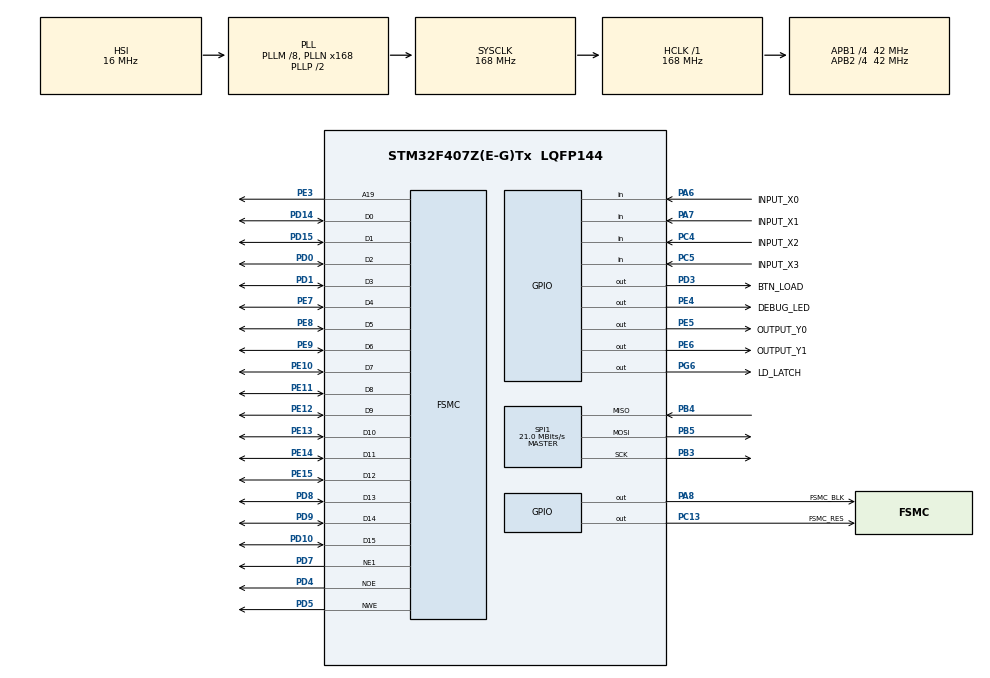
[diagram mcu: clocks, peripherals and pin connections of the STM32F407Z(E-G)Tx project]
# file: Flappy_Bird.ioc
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FSMC.AddressSetupTime1=0xf
FSMC.BusTurnAroundDuration1=0
FSMC.DataSetupTime1=60
FSMC.ExtendedAddressSetupTime1=8
FSMC.ExtendedBusTurnAroundDuration1=0
FSMC.ExtendedDataSetupTime1=9
FSMC.ExtendedMode1=FSMC_EXTENDED_MODE_ENABLE
Mcu.Family=STM32F4
Mcu.Name=STM32F407Z(E-G)Tx
Mcu.Package=LQFP144
NVIC.PriorityGroup=NVIC_PRIORITYGROUP_4
NVIC.TIM2_IRQn=true\:0\:0\:false\:false\:true\:true\:true
NVIC.TIM4_IRQn=true\:0\:0\:false\:false\:true\:true\:true
PA13.Mode=Serial_Wire
PA13.Signal=SYS_JTMS-SWDIO
PA14.Mode=Serial_Wire
PA14.Signal=SYS_JTCK-SWCLK
PA6.GPIO_Label=INPUT_X0
PA6.Signal=GPIO_Input
PA7.GPIO_Label=INPUT_X1
PA7.Signal=GPIO_Input
PA8.GPIO_Label=FSMC_BLK
PA8.Signal=GPIO_Output
PB3.Mode=Full_Duplex_Master
PB3.Signal=SPI1_SCK
PB4.Mode=Full_Duplex_Master
PB4.Signal=SPI1_MISO
PB5.Mode=Full_Duplex_Master
PB5.Signal=SPI1_MOSI
PC13-ANTI_TAMP.GPIO_Label=FSMC_RES
PC13-ANTI_TAMP.Signal=GPIO_Output
PC4.GPIO_Label=INPUT_X2
PC4.Signal=GPIO_Input
PC5.GPIO_Label=INPUT_X3
PC5.Signal=GPIO_Input
PD0.Signal=FSMC_D2_DA2
PD1.Signal=FSMC_D3_DA3
PD10.Signal=FSMC_D15_DA15
PD14.Signal=FSMC_D0_DA0
PD15.Signal=FSMC_D1_DA1
PD3.GPIO_Label=BTN_LOAD
PD3.Signal=GPIO_Output
PD4.Signal=FSMC_NOE
PD5.Signal=FSMC_NWE
PD7.Mode=NorPsramChipSelect1_1
PD7.Signal=FSMC_NE1
PD8.Signal=FSMC_D13_DA13
PD9.Signal=FSMC_D14_DA14
PE10.Signal=FSMC_D7_DA7
PE11.Signal=FSMC_D8_DA8
PE12.Signal=FSMC_D9_DA9
PE13.Signal=FSMC_D10_DA10
PE14.Signal=FSMC_D11_DA11
PE15.Signal=FSMC_D12_DA12
PE3.Signal=FSMC_A19
PE4.GPIO_Label=DEBUG_LED
PE4.Signal=GPIO_Output
PE5.GPIO_Label=OUTPUT_Y0
PE5.Signal=GPIO_Output
PE6.GPIO_Label=OUTPUT_Y1
PE6.Signal=GPIO_Output
PE7.Signal=FSMC_D4_DA4
PE8.Signal=FSMC_D5_DA5
PE9.Signal=FSMC_D6_DA6
PG6.GPIO_Label=LD_LATCH
PG6.Signal=GPIO_Output
PH0-OSC_IN.Mode=HSE-External-Oscillator
PH0-OSC_IN.Signal=RCC_OSC_IN
PH1-OSC_OUT.Mode=HSE-External-Oscillator
PH1-OSC_OUT.Signal=RCC_OSC_OUT
ProjectManager.HeapSize=0x200
ProjectManager.StackSize=0x400
ProjectManager.TargetToolchain=STM32CubeIDE
RCC.48MHZClocksFreq_Value=84000000
RCC.AHBFreq_Value=168000000
RCC.APB1CLKDivider=RCC_HCLK_DIV4
RCC.APB1Freq_Value=42000000
RCC.APB1TimFreq_Value=84000000
RCC.APB2CLKDivider=RCC_HCLK_DIV4
RCC.APB2Freq_Value=42000000
RCC.APB2TimFreq_Value=84000000
RCC.CortexFreq_Value=168000000
RCC.HCLKFreq_Value=168000000
RCC.HSE_VALUE=8000000
RCC.HSI_VALUE=16000000
RCC.LSE_VALUE=32768
RCC.PLLM=8
RCC.PLLN=168
RCC.SYSCLKFreq_VALUE=168000000
RCC.SYSCLKSource=RCC_SYSCLKSOURCE_PLLCLK
RCC.VCOOutputFreq_Value=336000000
SH.FSMC_A19.0=FSMC_A19,A19_1
SH.FSMC_D0_DA0.0=FSMC_D0,16b-d1
SH.FSMC_D10_DA10.0=FSMC_D10,16b-d1
SH.FSMC_D11_DA11.0=FSMC_D11,16b-d1
SH.FSMC_D12_DA12.0=FSMC_D12,16b-d1
SH.FSMC_D13_DA13.0=FSMC_D13,16b-d1
SH.FSMC_D14_DA14.0=FSMC_D14,16b-d1
SH.FSMC_D15_DA15.0=FSMC_D15,16b-d1
SH.FSMC_D1_DA1.0=FSMC_D1,16b-d1
SH.FSMC_D2_DA2.0=FSMC_D2,16b-d1
SH.FSMC_D3_DA3.0=FSMC_D3,16b-d1
SH.FSMC_D4_DA4.0=FSMC_D4,16b-d1
SH.FSMC_D5_DA5.0=FSMC_D5,16b-d1
SH.FSMC_D6_DA6.0=FSMC_D6,16b-d1
SH.FSMC_D7_DA7.0=FSMC_D7,16b-d1
SH.FSMC_D8_DA8.0=FSMC_D8,16b-d1
SH.FSMC_D9_DA9.0=FSMC_D9,16b-d1
SH.FSMC_NOE.0=FSMC_NOE,Lcd1
SH.FSMC_NWE.0=FSMC_NWE,Lcd1
SPI1.CalculateBaudRate=21.0 MBits/s
SPI1.Direction=SPI_DIRECTION_2LINES
SPI1.Mode=SPI_MODE_MASTER
SPI1.VirtualType=VM_MASTER
TIM2.Period=100-1
TIM2.Prescaler=840-1
TIM4.Period=100-1
TIM4.Prescaler=840-1
VP_TIM2_VS_ClockSourceINT.Mode=Internal
VP_TIM4_VS_ClockSourceINT.Mode=Internal
board=custom

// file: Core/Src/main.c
/* USER CODE BEGIN Header */
/**
  ******************************************************************************
  * @file           : main.c
  * @brief          : Main program body
  ******************************************************************************
  * @attention
  *
  * <h2><center>&copy; Copyright (c) 2025 STMicroelectronics.
  * All rights reserved.</center></h2>
  *
  * This software component is licensed by ST under BSD 3-Clause license,
  * the "License"; You may not use this file except in compliance with the
  * License. You may obtain a copy of the License at:
  *                        opensource.org/licenses/BSD-3-Clause
  *
  ******************************************************************************
  */
/* USER CODE END Header */
#include "main.h"

/* USER CODE BEGIN Includes */
#include "spi.h"
#include "tim.h"
#include "gpio.h"
#include "fsmc.h"
#include "software_timer.h"
#include "led_7seg.h"
#include "button.h"
#include "lcd.h"
#include "picture.h"
#include "bird.h"
/* USER CODE END Includes */

//SPI_HandleTypeDef hspi1;
//
//TIM_HandleTypeDef htim2;
//TIM_HandleTypeDef htim4;

//SRAM_HandleTypeDef hsram1;

void SystemClock_Config(void);
//static void MX_GPIO_Init(void);
//static void MX_FSMC_Init(void);
//static void MX_SPI1_Init(void);
//static void MX_TIM2_Init(void);
//static void MX_TIM4_Init(void);

/* USER CODE BEGIN 0 */
void init_system();
/* USER CODE END 0 */

int main(void)
{

  /* MCU Configuration--------------------------------------------------------*/

  /* Reset of all peripherals, Initializes the Flash interface and the Systick. */
  HAL_Init();

  /* Configure the system clock */
  SystemClock_Config();

  /* Initialize all configured peripherals */
  MX_GPIO_Init();
  MX_FSMC_Init();
  MX_SPI1_Init();
  MX_TIM2_Init();
  MX_TIM4_Init();
  /* USER CODE BEGIN 2 */
  init_system();
  /* USER CODE END 2 */

  /* Infinite loop */
  while (1)
  {
	  if (timer2_flag) {
		  timer2_flag = 0;
		  button_scan();

		  game_process();
	  }
  }
}

void SystemClock_Config(void)
{
  RCC_OscInitTypeDef RCC_OscInitStruct = {0};
  RCC_ClkInitTypeDef RCC_ClkInitStruct = {0};

  /** Configure the main internal regulator output voltage
  */
  __HAL_RCC_PWR_CLK_ENABLE();
  __HAL_PWR_VOLTAGESCALING_CONFIG(PWR_REGULATOR_VOLTAGE_SCALE1);
  /** Initializes the RCC Oscillators according to the specified parameters
  * in the RCC_OscInitTypeDef structure.
  */
  RCC_OscInitStruct.OscillatorType = RCC_OSCILLATORTYPE_HSI;
  RCC_OscInitStruct.HSIState = RCC_HSI_ON;
  RCC_OscInitStruct.HSICalibrationValue = RCC_HSICALIBRATION_DEFAULT;
  RCC_OscInitStruct.PLL.PLLState = RCC_PLL_ON;
  RCC_OscInitStruct.PLL.PLLSource = RCC_PLLSOURCE_HSI;
  RCC_OscInitStruct.PLL.PLLM = 8;
  RCC_OscInitStruct.PLL.PLLN = 168;
  RCC_OscInitStruct.PLL.PLLP = RCC_PLLP_DIV2;
  RCC_OscInitStruct.PLL.PLLQ = 4;
  if (HAL_RCC_OscConfig(&RCC_OscInitStruct) != HAL_OK)
  {
    Error_Handler();
  }
  /** Initializes the CPU, AHB and APB buses clocks
  */
  RCC_ClkInitStruct.ClockType = RCC_CLOCKTYPE_HCLK|RCC_CLOCKTYPE_SYSCLK
                              |RCC_CLOCKTYPE_PCLK1|RCC_CLOCKTYPE_PCLK2;
  RCC_ClkInitStruct.SYSCLKSource = RCC_SYSCLKSOURCE_PLLCLK;
  RCC_ClkInitStruct.AHBCLKDivider = RCC_SYSCLK_DIV1;
  RCC_ClkInitStruct.APB1CLKDivider = RCC_HCLK_DIV4;
  RCC_ClkInitStruct.APB2CLKDivider = RCC_HCLK_DIV4;

  if (HAL_RCC_ClockConfig(&RCC_ClkInitStruct, FLASH_LATENCY_5) != HAL_OK)
  {
    Error_Handler();
  }
}

//static void MX_SPI1_Init(void)
//{
//
//  /* USER CODE BEGIN SPI1_Init 0 */
////
//  /* USER CODE END SPI1_Init 0 */
//
//  /* USER CODE BEGIN SPI1_Init 1 */
////
//  /* USER CODE END SPI1_Init 1 */
//  /* SPI1 parameter configuration*/
//  hspi1.Instance = SPI1;
//  hspi1.Init.Mode = SPI_MODE_MASTER;
//  hspi1.Init.Direction = SPI_DIRECTION_2LINES;
//  hspi1.Init.DataSize = SPI_DATASIZE_8BIT;
//  hspi1.Init.CLKPolarity = SPI_POLARITY_LOW;
//  hspi1.Init.CLKPhase = SPI_PHASE_1EDGE;
//  hspi1.Init.NSS = SPI_NSS_SOFT;
//  hspi1.Init.BaudRatePrescaler = SPI_BAUDRATEPRESCALER_2;
//  hspi1.Init.FirstBit = SPI_FIRSTBIT_MSB;
//  hspi1.Init.TIMode = SPI_TIMODE_DISABLE;
//  hspi1.Init.CRCCalculation = SPI_CRCCALCULATION_DISABLE;
//  hspi1.Init.CRCPolynomial = 10;
//  if (HAL_SPI_Init(&hspi1) != HAL_OK)
//  {
//    Error_Handler();
//  }
//  /* USER CODE BEGIN SPI1_Init 2 */
////
//  /* USER CODE END SPI1_Init 2 */
//
//}
//
///**
//  * @brief TIM2 Initialization Function
//  * @param None
//  * @retval None
//  */
//static void MX_TIM2_Init(void)
//{
//
//  /* USER CODE BEGIN TIM2_Init 0 */
////
//  /* USER CODE END TIM2_Init 0 */
//
//  TIM_ClockConfigTypeDef sClockSourceConfig = {0};
//  TIM_MasterConfigTypeDef sMasterConfig = {0};
//
//  /* USER CODE BEGIN TIM2_Init 1 */
////
//  /* USER CODE END TIM2_Init 1 */
//  htim2.Instance = TIM2;
//  htim2.Init.Prescaler = 840-1;
//  htim2.Init.CounterMode = TIM_COUNTERMODE_UP;
//  htim2.Init.Period = 100-1;
//  htim2.Init.ClockDivision = TIM_CLOCKDIVISION_DIV1;
//  htim2.Init.AutoReloadPreload = TIM_AUTORELOAD_PRELOAD_DISABLE;
//  if (HAL_TIM_Base_Init(&htim2) != HAL_OK)
//  {
//    Error_Handler();
//  }
//  sClockSourceConfig.ClockSource = TIM_CLOCKSOURCE_INTERNAL;
//  if (HAL_TIM_ConfigClockSource(&htim2, &sClockSourceConfig) != HAL_OK)
//  {
//    Error_Handler();
//  }
//  sMasterConfig.MasterOutputTrigger = TIM_TRGO_RESET;
//  sMasterConfig.MasterSlaveMode = TIM_MASTERSLAVEMODE_DISABLE;
//  if (HAL_TIMEx_MasterConfigSynchronization(&htim2, &sMasterConfig) != HAL_OK)
//  {
//    Error_Handler();
//  }
//  /* USER CODE BEGIN TIM2_Init 2 */
////
//  /* USER CODE END TIM2_Init 2 */
//
//}
//
///**
//  * @brief TIM4 Initialization Function
//  * @param None
//  * @retval None
//  */
//static void MX_TIM4_Init(void)
//{
//
//  /* USER CODE BEGIN TIM4_Init 0 */
////
//  /* USER CODE END TIM4_Init 0 */
//
//  TIM_ClockConfigTypeDef sClockSourceConfig = {0};
//  TIM_MasterConfigTypeDef sMasterConfig = {0};
//
//  /* USER CODE BEGIN TIM4_Init 1 */
////
//  /* USER CODE END TIM4_Init 1 */
//  htim4.Instance = TIM4;
//  htim4.Init.Prescaler = 840-1;
//  htim4.Init.CounterMode = TIM_COUNTERMODE_UP;
//  htim4.Init.Period = 100-1;
//  htim4.Init.ClockDivision = TIM_CLOCKDIVISION_DIV1;
//  htim4.Init.AutoReloadPreload = TIM_AUTORELOAD_PRELOAD_DISABLE;
//  if (HAL_TIM_Base_Init(&htim4) != HAL_OK)
//  {
//    Error_Handler();
//  }
//  sClockSourceConfig.ClockSource = TIM_CLOCKSOURCE_INTERNAL;
//  if (HAL_TIM_ConfigClockSource(&htim4, &sClockSourceConfig) != HAL_OK)
//  {
//    Error_Handler();
//  }
//  sMasterConfig.MasterOutputTrigger = TIM_TRGO_RESET;
//  sMasterConfig.MasterSlaveMode = TIM_MASTERSLAVEMODE_DISABLE;
//  if (HAL_TIMEx_MasterConfigSynchronization(&htim4, &sMasterConfig) != HAL_OK)
//  {
//    Error_Handler();
//  }
//  /* USER CODE BEGIN TIM4_Init 2 */
////
//  /* USER CODE END TIM4_Init 2 */
//
//}
//
///**
//  * @brief GPIO Initialization Function
//  * @param None
//  * @retval None
//  */
//static void MX_GPIO_Init(void)
//{
//  GPIO_InitTypeDef GPIO_InitStruct = {0};
//
//  /* GPIO Ports Clock Enable */
//  __HAL_RCC_GPIOE_CLK_ENABLE();
//  __HAL_RCC_GPIOC_CLK_ENABLE();
//  __HAL_RCC_GPIOH_CLK_ENABLE();
//  __HAL_RCC_GPIOA_CLK_ENABLE();
//  __HAL_RCC_GPIOD_CLK_ENABLE();
//  __HAL_RCC_GPIOG_CLK_ENABLE();
//  __HAL_RCC_GPIOB_CLK_ENABLE();
//
//  /*Configure GPIO pin Output Level */
//  HAL_GPIO_WritePin(GPIOE, DEBUG_LED_Pin|OUTPUT_Y0_Pin|OUTPUT_Y1_Pin, GPIO_PIN_RESET);
//
//  /*Configure GPIO pin Output Level */
//  HAL_GPIO_WritePin(FSMC_RES_GPIO_Port, FSMC_RES_Pin, GPIO_PIN_RESET);
//
//  /*Configure GPIO pin Output Level */
//  HAL_GPIO_WritePin(LD_LATCH_GPIO_Port, LD_LATCH_Pin, GPIO_PIN_RESET);
//
//  /*Configure GPIO pin Output Level */
//  HAL_GPIO_WritePin(FSMC_BLK_GPIO_Port, FSMC_BLK_Pin, GPIO_PIN_RESET);
//
//  /*Configure GPIO pin Output Level */
//  HAL_GPIO_WritePin(BTN_LOAD_GPIO_Port, BTN_LOAD_Pin, GPIO_PIN_RESET);
//
//  /*Configure GPIO pins : DEBUG_LED_Pin OUTPUT_Y0_Pin OUTPUT_Y1_Pin */
//  GPIO_InitStruct.Pin = DEBUG_LED_Pin|OUTPUT_Y0_Pin|OUTPUT_Y1_Pin;
//  GPIO_InitStruct.Mode = GPIO_MODE_OUTPUT_PP;
//  GPIO_InitStruct.Pull = GPIO_NOPULL;
//  GPIO_InitStruct.Speed = GPIO_SPEED_FREQ_LOW;
//  HAL_GPIO_Init(GPIOE, &GPIO_InitStruct);
//
//  /*Configure GPIO pin : FSMC_RES_Pin */
//  GPIO_InitStruct.Pin = FSMC_RES_Pin;
//  GPIO_InitStruct.Mode = GPIO_MODE_OUTPUT_PP;
//  GPIO_InitStruct.Pull = GPIO_NOPULL;
//  GPIO_InitStruct.Speed = GPIO_SPEED_FREQ_LOW;
//  HAL_GPIO_Init(FSMC_RES_GPIO_Port, &GPIO_InitStruct);
//
//  /*Configure GPIO pins : INPUT_X0_Pin INPUT_X1_Pin */
//  GPIO_InitStruct.Pin = INPUT_X0_Pin|INPUT_X1_Pin;
//  GPIO_InitStruct.Mode = GPIO_MODE_INPUT;
//  GPIO_InitStruct.Pull = GPIO_NOPULL;
//  HAL_GPIO_Init(GPIOA, &GPIO_InitStruct);
//
//  /*Configure GPIO pins : INPUT_X2_Pin INPUT_X3_Pin */
//  GPIO_InitStruct.Pin = INPUT_X2_Pin|INPUT_X3_Pin;
//  GPIO_InitStruct.Mode = GPIO_MODE_INPUT;
//  GPIO_InitStruct.Pull = GPIO_NOPULL;
//  HAL_GPIO_Init(GPIOC, &GPIO_InitStruct);
//
//  /*Configure GPIO pin : LD_LATCH_Pin */
//  GPIO_InitStruct.Pin = LD_LATCH_Pin;
//  GPIO_InitStruct.Mode = GPIO_MODE_OUTPUT_PP;
//  GPIO_InitStruct.Pull = GPIO_NOPULL;
//  GPIO_InitStruct.Speed = GPIO_SPEED_FREQ_LOW;
//  HAL_GPIO_Init(LD_LATCH_GPIO_Port, &GPIO_InitStruct);
//
//  /*Configure GPIO pin : FSMC_BLK_Pin */
//  GPIO_InitStruct.Pin = FSMC_BLK_Pin;
//  GPIO_InitStruct.Mode = GPIO_MODE_OUTPUT_PP;
//  GPIO_InitStruct.Pull = GPIO_NOPULL;
//  GPIO_InitStruct.Speed = GPIO_SPEED_FREQ_LOW;
//  HAL_GPIO_Init(FSMC_BLK_GPIO_Port, &GPIO_InitStruct);
//
//  /*Configure GPIO pin : BTN_LOAD_Pin */
//  GPIO_InitStruct.Pin = BTN_LOAD_Pin;
//  GPIO_InitStruct.Mode = GPIO_MODE_OUTPUT_PP;
//  GPIO_InitStruct.Pull = GPIO_NOPULL;
//  GPIO_InitStruct.Speed = GPIO_SPEED_FREQ_LOW;
//  HAL_GPIO_Init(BTN_LOAD_GPIO_Port, &GPIO_InitStruct);
//
//}
//
///* FSMC initialization function */
//static void MX_FSMC_Init(void)
//{
//
//  /* USER CODE BEGIN FSMC_Init 0 */
////
//  /* USER CODE END FSMC_Init 0 */
//
//  FSMC_NORSRAM_TimingTypeDef Timing = {0};
//  FSMC_NORSRAM_TimingTypeDef ExtTiming = {0};
//
//  /* USER CODE BEGIN FSMC_Init 1 */
////
//  /* USER CODE END FSMC_Init 1 */
//
//  /** Perform the SRAM1 memory initialization sequence
//  */
//  hsram1.Instance = FSMC_NORSRAM_DEVICE;
//  hsram1.Extended = FSMC_NORSRAM_EXTENDED_DEVICE;
//  /* hsram1.Init */
//  hsram1.Init.NSBank = FSMC_NORSRAM_BANK1;
//  hsram1.Init.DataAddressMux = FSMC_DATA_ADDRESS_MUX_DISABLE;
//  hsram1.Init.MemoryType = FSMC_MEMORY_TYPE_SRAM;
//  hsram1.Init.MemoryDataWidth = FSMC_NORSRAM_MEM_BUS_WIDTH_16;
//  hsram1.Init.BurstAccessMode = FSMC_BURST_ACCESS_MODE_DISABLE;
//  hsram1.Init.WaitSignalPolarity = FSMC_WAIT_SIGNAL_POLARITY_LOW;
//  hsram1.Init.WrapMode = FSMC_WRAP_MODE_DISABLE;
//  hsram1.Init.WaitSignalActive = FSMC_WAIT_TIMING_BEFORE_WS;
//  hsram1.Init.WriteOperation = FSMC_WRITE_OPERATION_ENABLE;
//  hsram1.Init.WaitSignal = FSMC_WAIT_SIGNAL_DISABLE;
//  hsram1.Init.ExtendedMode = FSMC_EXTENDED_MODE_ENABLE;
//  hsram1.Init.AsynchronousWait = FSMC_ASYNCHRONOUS_WAIT_DISABLE;
//  hsram1.Init.WriteBurst = FSMC_WRITE_BURST_DISABLE;
//  hsram1.Init.PageSize = FSMC_PAGE_SIZE_NONE;
//  /* Timing */
//  Timing.AddressSetupTime = 0xf;
//  Timing.AddressHoldTime = 15;
//  Timing.DataSetupTime = 60;
//  Timing.BusTurnAroundDuration = 0;
//  Timing.CLKDivision = 16;
//  Timing.DataLatency = 17;
//  Timing.AccessMode = FSMC_ACCESS_MODE_A;
//  /* ExtTiming */
//  ExtTiming.AddressSetupTime = 8;
//  ExtTiming.AddressHoldTime = 15;
//  ExtTiming.DataSetupTime = 9;
//  ExtTiming.BusTurnAroundDuration = 0;
//  ExtTiming.CLKDivision = 16;
//  ExtTiming.DataLatency = 17;
//  ExtTiming.AccessMode = FSMC_ACCESS_MODE_A;
//
//  if (HAL_SRAM_Init(&hsram1, &Timing, &ExtTiming) != HAL_OK)
//  {
//    Error_Handler( );
//  }
//
//  /* USER CODE BEGIN FSMC_Init 2 */
////
//  /* USER CODE END FSMC_Init 2 */
//}

/* USER CODE BEGIN 4 */
void init_system() {
	button_init();
	led_7seg_init();
	lcd_init();

	timer2_init();
	timer2_set(50);

	timer4_init();
	timer4_set(1);

	game_init();
}
/* USER CODE END 4 */

void Error_Handler(void)
{
  __disable_irq();
  while (1)
  {
  }
}

/************************ (C) COPYRIGHT STMicroelectronics *****END OF FILE****/
